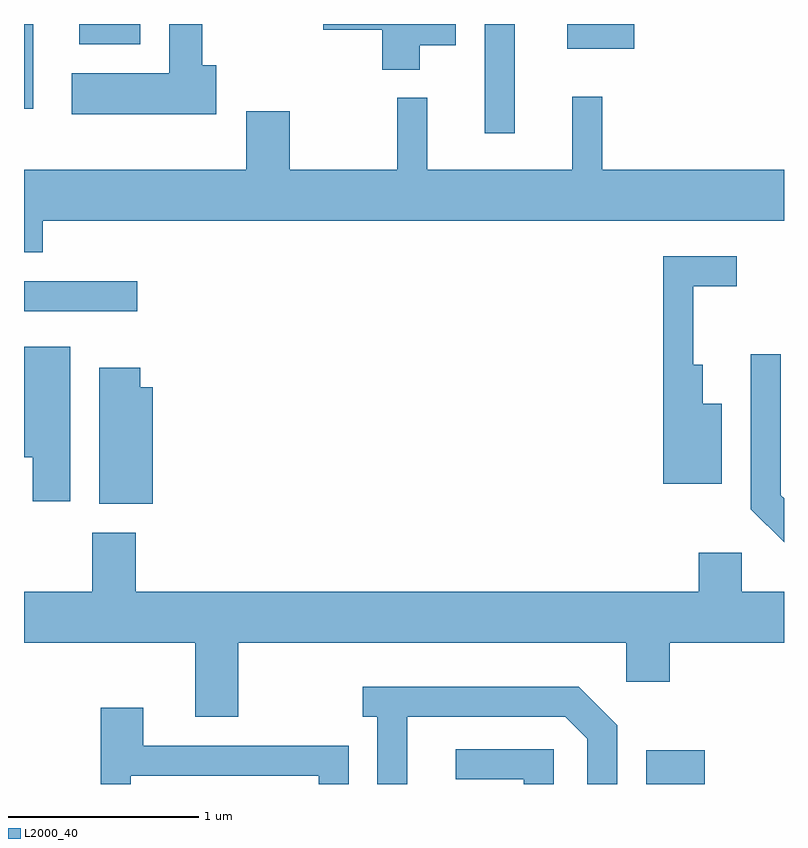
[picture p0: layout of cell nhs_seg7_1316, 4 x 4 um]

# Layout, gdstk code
import gdstk
lib = gdstk.Library(unit=1e-6, precision=1e-09)
def R(c, l, rs):  # rectangles x0, y0, x1, y1
    for r in rs: c.add(gdstk.rectangle(r[:2], r[2:], *l))
def P(c, l, *ps):  # polygons
    for p in ps: c.add(gdstk.Polygon(p, *l))
L2000_40 = (2000, 40)

nhs_seg7_1316 = lib.new_cell('nhs_seg7_1316')
R(nhs_seg7_1316, L2000_40, [(228.886,1700.252,229.194,1700.429), (225.611,1702.741,226.208,1702.899), (228.036,1703.678,228.194,1704.252), (225.611,1703.806,225.659,1704.252), (228.471,1704.121,228.824,1704.252), (225.901,1704.146,226.224,1704.252)])
P(nhs_seg7_1316, L2000_40, [(226.624,1704.034),(226.549,1704.034),(226.549,1704.252),(226.376,1704.252),(226.376,1703.994),(225.861,1703.994),(225.861,1703.776),(226.624,1703.776)],
  [(227.694,1704.141),(227.884,1704.141),(227.884,1704.252),(227.186,1704.252),(227.186,1704.221),(227.496,1704.221),(227.496,1704.011),(227.694,1704.011)],
  [(225.709,1703.216),(229.611,1703.216),(229.611,1703.484),(228.654,1703.484),(228.654,1703.868),(228.496,1703.868),(228.496,1703.484),(227.734,1703.484),(227.734,1703.863),(227.576,1703.863),(227.576,1703.484),(227.009,1703.484),(227.009,1703.794),(226.781,1703.794),(226.781,1703.484),(225.611,1703.484),(225.611,1703.051),(225.709,1703.051)],
  [(229.284,1702.254),(229.184,1702.254),(229.184,1702.459),(229.134,1702.459),(229.134,1702.871),(229.363,1702.871),(229.363,1703.029),(228.976,1703.029),(228.976,1701.831),(229.284,1701.831)],
  [(225.854,1702.554),(225.611,1702.554),(225.611,1701.971),(225.656,1701.971),(225.656,1701.741),(225.854,1701.741)],
  [(229.611,1701.755),(229.594,1701.772),(229.594,1702.513),(229.436,1702.513),(229.436,1701.699),(229.611,1701.524)],
  [(226.289,1702.339),(226.224,1702.339),(226.224,1702.444),(226.006,1702.444),(226.006,1701.726),(226.289,1701.726)],
  [(226.739,1700.996),(228.781,1700.996),(228.781,1700.791),(229.009,1700.791),(229.009,1700.996),(229.611,1700.996),(229.611,1701.264),(229.389,1701.264),(229.389,1701.469),(229.161,1701.469),(229.161,1701.264),(226.199,1701.264),(226.199,1701.574),(225.971,1701.574),(225.971,1701.264),(225.611,1701.264),(225.611,1700.996),(226.511,1700.996),(226.511,1700.606),(226.739,1700.606)],
  [(227.629,1700.606),(228.459,1700.606),(228.576,1700.489),(228.576,1700.252),(228.734,1700.252),(228.734,1700.562),(228.532,1700.764),(227.393,1700.764),(227.393,1700.606),(227.471,1700.606),(227.471,1700.252),(227.629,1700.252)],
  [(226.174,1700.296),(227.161,1700.296),(227.161,1700.252),(227.319,1700.252),(227.319,1700.454),(226.239,1700.454),(226.239,1700.654),(226.016,1700.654),(226.016,1700.252),(226.174,1700.252)],
  [(228.399,1700.434),(227.883,1700.434),(227.883,1700.276),(228.241,1700.276),(228.241,1700.252),(228.399,1700.252)])

lib.write_gds('nhs_seg7_1316.gds')
